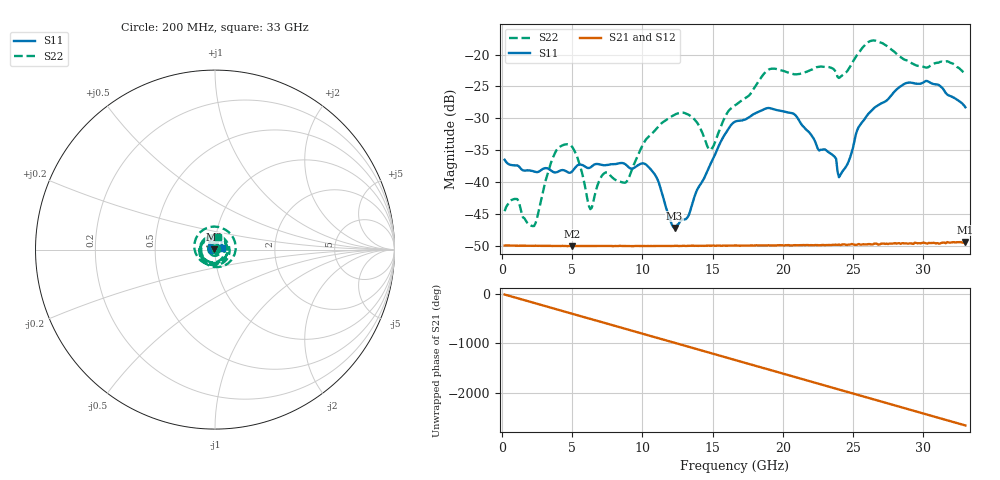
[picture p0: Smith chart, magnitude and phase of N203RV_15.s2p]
# GHZ S RI R 50
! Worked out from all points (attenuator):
!   329 points, 200 MHz to 33 GHz, reference 50 ohm
!   highest |S21| = -49.43 dB at 33 GHz (marker M1); lowest = -50.1 dB at 5 GHz (marker M2)
!   lowest |S11| = -47.2 dB at 12.3 GHz (marker M3), VSWR 1.01, Z = 49.6 + j0.159 ohm
!   |S11| at or under -10 dB: start of sweep to end of sweep
!   |S22| runs from -46.9 to -17.8 dB; largest |S21 - S12| = 7.2e-05
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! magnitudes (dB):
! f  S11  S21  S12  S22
! 200 MHz  -36.5  -50.0  -49.9  -44.6
! 1.1 GHz  -37.4  -50.0  -50.0  -42.7
! 2.3 GHz  -38.4  -50.0  -50.0  -46.9
! 3.8 GHz  -38.5  -50.1  -50.0  -35.4
! 5 GHz  -38.4  -50.1  -50.1  -34.5
! 5.7 GHz  -37.3  -50.0  -50.0  -38.5
! 6.3 GHz  -37.7  -50.1  -50.0  -44.3
! 7.2 GHz  -37.4  -50.1  -50.0  -38.8
! 8.8 GHz  -37.2  -50.1  -50.0  -40.1
! 11.2 GHz  -40.3  -50.0  -50.0  -31.2
! 12.3 GHz  -47.2  -50.0  -50.0  -29.5
! 13.7 GHz  -42.4  -50.0  -50.0  -30.2
! 14.8 GHz  -37.4  -50.0  -50.0  -35.0
! 16.6 GHz  -30.5  -50.0  -50.0  -28.0
! 19.1 GHz  -28.4  -50.0  -50.0  -22.3
! 22.1 GHz  -32.9  -49.9  -49.9  -22.3
! 23.8 GHz  -36.4  -49.8  -49.8  -22.8
! 24 GHz  -39.3  -49.8  -49.9  -23.7
! 25.4 GHz  -31.4  -49.7  -49.8  -19.7
! 27.6 GHz  -26.8  -49.7  -49.7  -19.0
! 30.2 GHz  -24.1  -49.6  -49.5  -22.0
! 33 GHz  -28.3  -49.4  -49.4  -23.1
